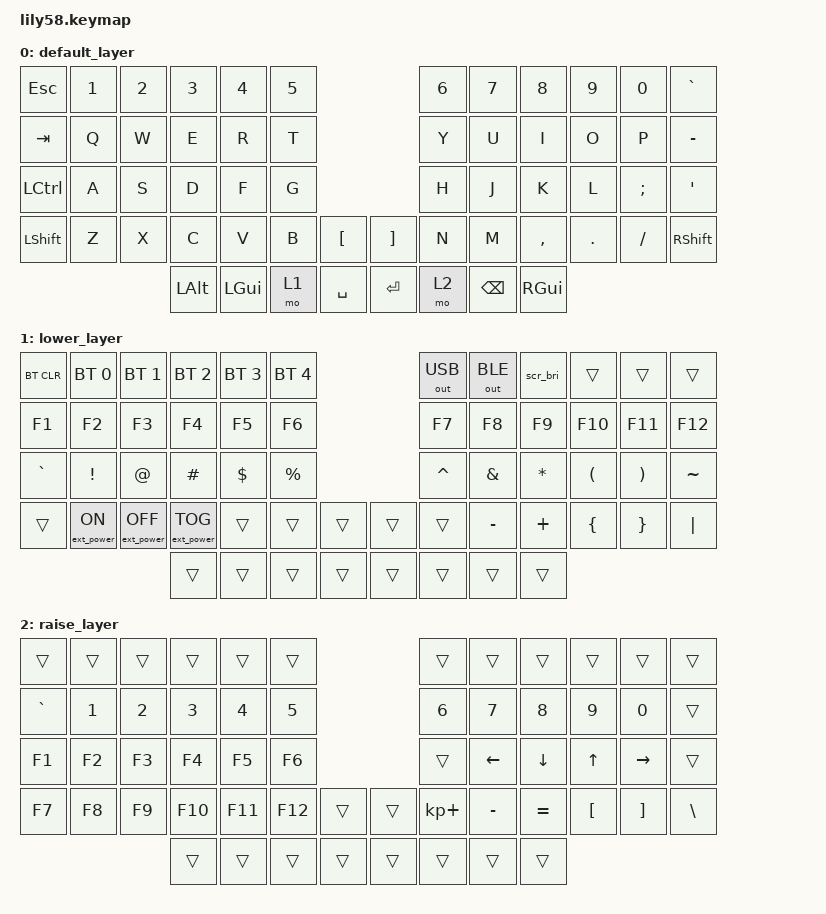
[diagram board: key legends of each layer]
/*
 * Copyright (c) 2020 The ZMK Contributors
 *
 * SPDX-License-Identifier: MIT
 */

#include <behaviors.dtsi>
#include <dt-bindings/zmk/keys.h>
#include <dt-bindings/zmk/bt.h>
#include <dt-bindings/zmk/ext_power.h>
#include <dt-bindings/zmk/outputs.h>

// Wake-up key: top outer corner (Esc / `), row pin 5, column pin 19 on both halves.
#define TKL_WAKE_ROW 5
#define TKL_WAKE_COL 19
// Switch-off: Esc + left Shift held together.
#define TKL_OFF_KEYS 0 36
#include "tkl_power.dtsi"
#include "tkl_brightness.dtsi"

// Our Lily58 has no rotary encoder: disable the optional one that the ZMK lily58
// shield turns on. It lives here because ZMK reads the keymap after
// the shield files; a config .overlay is read before them and can't reach the node.
&left_encoder {
    status = "disabled";
};

/ {
    keymap {
        compatible = "zmk,keymap";

        default_layer {
// ------------------------------------------------------------------------------------------------------------
// |  ESC  |  1  |  2  |  3   |  4   |  5   |                   |  6   |  7    |  8    |  9   |   0   |   `   |
// |  TAB  |  Q  |  W  |  E   |  R   |  T   |                   |  Y   |  U    |  I    |  O   |   P   |   -   |
// |  CTRL |  A  |  S  |  D   |  F   |  G   |                   |  H   |  J    |  K    |  L   |   ;   |   '   |
// | SHIFT |  Z  |  X  |  C   |  V   |  B   |   "["  |  |  "]"  |  N   |  M    |  ,    |  .   |   /   | SHIFT |
//                     | ALT  | GUI  | LOWER|  SPACE |  | ENTER | RAISE| BSPC  | GUI   |
            bindings = <
&kp ESC   &kp N1 &kp N2 &kp N3   &kp N4   &kp N5                     &kp N6 &kp N7   &kp N8    &kp N9  &kp N0   &kp GRAVE
&kp TAB   &kp Q  &kp W  &kp E    &kp R    &kp T                      &kp Y  &kp U    &kp I     &kp O   &kp P    &kp MINUS
&kp LCTRL &kp A  &kp S  &kp D    &kp F    &kp G                      &kp H  &kp J    &kp K     &kp L   &kp SEMI &kp SQT
&kp LSHFT &kp Z  &kp X  &kp C    &kp V    &kp B  &kp LBKT   &kp RBKT &kp N  &kp M    &kp COMMA &kp DOT &kp FSLH &kp RSHFT
                        &kp LALT &kp LGUI &mo 1  &kp SPACE  &kp RET  &mo 2  &kp BSPC &kp RGUI
            >;
        };

        lower_layer {
// ------------------------------------------------------------------------------------------------------------
// | BTCLR | BT1 | BT2 |  BT3 |  BT4 |  BT5 |                   |  USB |  BLE  |SCR BRI|      |       |       |
// |  F1   |  F2 |  F3 |  F4  |  F5  |  F6  |                   |  F7  |  F8   |  F9   |  F10 |  F11  |  F12  |
// |   `   |  !  |  @  |  #   |  $   |  %   |                   |  ^   |  &    |  *    |  (   |   )   |   ~   |
// |       |EP ON|EPOFF|EP TOG|      |      |        |  |       |      |  -    |  +    |  {   |   }   |  "|"  |
//                     |      |      |      |        |  |       |      |       |       |
            bindings = <
&bt BT_CLR &bt BT_SEL 0     &bt BT_SEL 1      &bt BT_SEL 2      &bt BT_SEL 3 &bt BT_SEL 4                 &out OUT_USB &out OUT_BLE &scr_bri &trans  &trans    &trans
&kp F1     &kp F2           &kp F3            &kp F4            &kp F5       &kp F6                       &kp F7    &kp F8    &kp F9    &kp F10   &kp F11   &kp F12
&kp GRAVE  &kp EXCL         &kp AT            &kp HASH          &kp DOLLAR   &kp PRCNT                    &kp CARET &kp AMPS  &kp ASTRK &kp LPAR  &kp RPAR  &kp TILDE
&trans     &ext_power EP_ON &ext_power EP_OFF &ext_power EP_TOG &trans       &trans    &trans   &trans    &trans    &kp MINUS &kp PLUS  &kp LBRC  &kp RBRC  &kp PIPE
                                              &trans            &trans       &trans    &trans   &trans    &trans    &trans    &trans
            >;
        };

        raise_layer {
// ------------------------------------------------------------------------------------------------------------
// |       |     |     |      |      |      |                   |      |       |       |      |       |       |
// |   `   |  1  |  2  |  3   |  4   |  5   |                   |  6   |   7   |   8   |  9   |   0   |       |
// |   F1  |  F2 |  F3 |  F4  |  F5  |  F6  |                   |      |   <-  |   v   |  ^   |  ->   |       |
// |   F7  |  F8 |  F9 |  F10 |  F11 |  F12 |        |  |       |  +   |   -   |   =   |  [   |   ]   |   \   |
//                     |      |      |      |        |  |       |      |       |       |
            bindings = <
&trans    &trans &trans &trans  &trans  &trans                       &trans      &trans    &trans    &trans   &trans    &trans
&kp GRAVE &kp N1 &kp N2 &kp N3  &kp N4  &kp N5                       &kp N6      &kp N7    &kp N8    &kp N9   &kp N0    &trans
&kp F1    &kp F2 &kp F3 &kp F4  &kp F5  &kp F6                       &trans      &kp LEFT  &kp DOWN  &kp UP   &kp RIGHT &trans
&kp F7    &kp F8 &kp F9 &kp F10 &kp F11 &kp F12   &trans   &trans    &kp KP_PLUS &kp MINUS &kp EQUAL &kp LBKT &kp RBKT  &kp BSLH
                        &trans  &trans  &trans    &trans   &trans    &trans      &trans    &trans
            >;
        };

        // Empty layers that ZMK Studio can enable and fill without reflashing.
        extra1 {
            status = "reserved";
        };

        extra2 {
            status = "reserved";
        };

        extra3 {
            status = "reserved";
        };
    };
};
